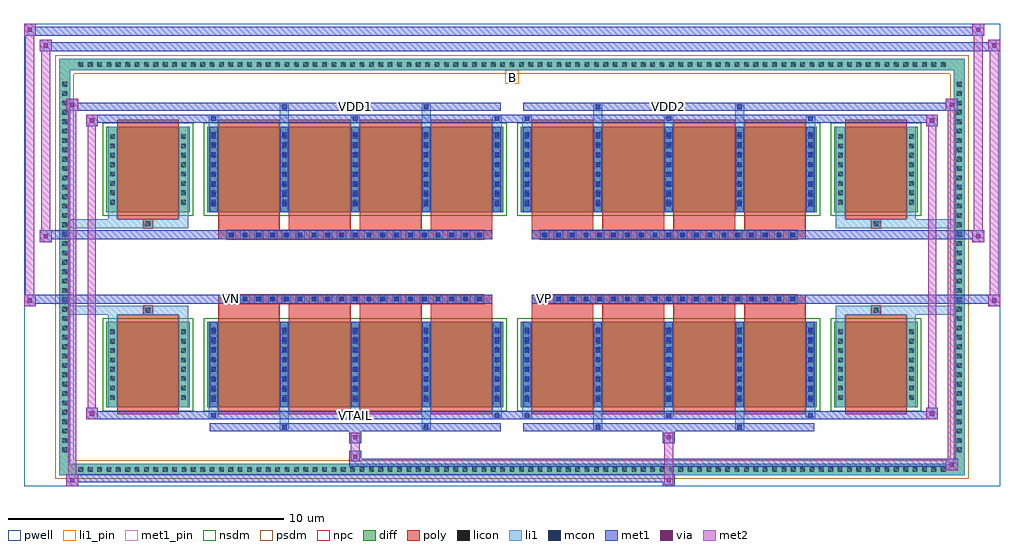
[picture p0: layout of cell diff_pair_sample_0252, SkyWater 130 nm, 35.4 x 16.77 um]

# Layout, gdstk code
import gdstk
lib = gdstk.Library(unit=1e-6, precision=5e-09)
def R(c, l, rs):  # rectangles x0, y0, x1, y1
    for r in rs: c.add(gdstk.rectangle(r[:2], r[2:], *l))
def A(c, l, x, y, w, h, nx, ny, dx, dy):  # array of equal rectangles
    R(c, l, [(x+i*dx, y+j*dy, x+i*dx+w, y+j*dy+h) for i in range(nx) for j in range(ny)])
def P(c, l, *ps):  # polygons
    for p in ps: c.add(gdstk.Polygon(p, *l))
pwell = (64, 44)
diff = (65, 20)
poly = (66, 20)
licon = (66, 44)
li1_pin = (67, 16)
li1 = (67, 20)
mcon = (67, 44)
met1_pin = (68, 16)
met1 = (68, 20)
via = (68, 44)
met2 = (69, 20)
nsdm = (93, 44)
psdm = (94, 20)
npc = (95, 20)

diff_pair_sample_0252 = lib.new_cell('diff_pair_sample_0252')
R(diff_pair_sample_0252, pwell, [(-17.7,-7.95,17.7,8.82), (-15.02,-6.14,-0.01,-0.8), (0.01,-6.14,15.02,-0.8), (-15.02,0.8,-0.01,6.14), (0.01,0.8,15.02,6.14)])
A(diff_pair_sample_0252, diff, -15.845, -7.55, 0.41, 0.41, 93, 2, 0.34, 14.69)
A(diff_pair_sample_0252, diff, -16.43, -6.835, 0.41, 0.41, 1, 40, 0, 0.34)
A(diff_pair_sample_0252, diff, 16.02, -6.835, 0.41, 0.41, 1, 40, 0, 0.34)
R(diff_pair_sample_0252, diff, [(-15.845,-7.55,15.845,-7.14), (-16.43,-6.835,-16.02,6.835), (16.02,-6.835,16.43,6.835), (-14.71,-5.095,-11.69,-1.985), (-11.05,-5.095,-0.32,-1.985), (0.32,-5.095,11.05,-1.985), (11.69,-5.095,14.71,-1.985), (-14.71,1.985,-11.69,5.095), (-11.05,1.985,-0.32,5.095), (0.32,1.985,11.05,5.095), (11.69,1.985,14.71,5.095), (-15.845,7.14,15.845,7.55)])
P(diff_pair_sample_0252, diff, [(16.43,7.55),(-16.43,7.55),(-16.43,-7.14),(-16.02,-7.14),(-16.02,7.14),(16.02,7.14),(16.02,-7.14),(-16.02,-7.14),(-16.43,-7.14),(-16.43,-7.55),(16.43,-7.55)])
A(diff_pair_sample_0252, poly, -10.66, -5.345, 2.24, 3.61, 4, 2, 2.57, 7.08)
A(diff_pair_sample_0252, poly, 0.71, -5.345, 2.24, 3.61, 4, 2, 2.57, 7.08)
A(diff_pair_sample_0252, poly, -10.66, -1.735, 2.24, 0.405, 4, 2, 2.57, 3.065)
A(diff_pair_sample_0252, poly, 0.71, -1.735, 2.24, 0.405, 4, 2, 2.57, 3.065)
A(diff_pair_sample_0252, poly, -10.35, -1.33, 0.33, 0.33, 19, 2, 0.5, 2.33)
A(diff_pair_sample_0252, poly, 1.02, -1.33, 0.33, 0.33, 19, 2, 0.5, 2.33)
R(diff_pair_sample_0252, poly, [(-14.32,-5.345,-12.08,-1.735), (12.08,-5.345,14.32,-1.735), (-13.365,-1.735,-13.035,-1.405), (-13.365,-1.735,-13.035,-1.405), (13.035,-1.735,13.365,-1.405), (13.035,-1.735,13.365,-1.405), (-10.66,-1.33,-0.71,-1), (0.71,-1.33,10.66,-1), (-10.66,1,-0.71,1.33), (0.71,1,10.66,1.33), (-13.365,1.405,-13.035,1.735), (-13.365,1.405,-13.035,1.735), (13.035,1.405,13.365,1.735), (13.035,1.405,13.365,1.735), (-14.32,1.735,-12.08,5.345), (12.08,1.735,14.32,5.345)])
A(diff_pair_sample_0252, licon, -15.725, -7.43, 0.17, 0.17, 93, 2, 0.34, 14.69)
A(diff_pair_sample_0252, licon, -16.31, -6.715, 0.17, 0.17, 1, 40, 0, 0.34)
A(diff_pair_sample_0252, licon, 16.14, -6.715, 0.17, 0.17, 1, 40, 0, 0.34)
A(diff_pair_sample_0252, licon, -14.57, -4.815, 0.17, 0.17, 1, 8, 0, 0.34)
A(diff_pair_sample_0252, licon, -12, -4.815, 0.17, 0.17, 1, 8, 0, 0.34)
A(diff_pair_sample_0252, licon, -10.91, -4.815, 0.17, 0.17, 5, 8, 2.57, 0.34)
A(diff_pair_sample_0252, licon, 0.46, -4.815, 0.17, 0.17, 5, 8, 2.57, 0.34)
A(diff_pair_sample_0252, licon, 11.83, -4.815, 0.17, 0.17, 1, 8, 0, 0.34)
A(diff_pair_sample_0252, licon, 14.4, -4.815, 0.17, 0.17, 1, 8, 0, 0.34)
A(diff_pair_sample_0252, licon, -10.27, -1.25, 0.17, 0.17, 19, 2, 0.5, 2.33)
A(diff_pair_sample_0252, licon, 1.1, -1.25, 0.17, 0.17, 19, 2, 0.5, 2.33)
A(diff_pair_sample_0252, licon, -14.57, 2.265, 0.17, 0.17, 1, 8, 0, 0.34)
A(diff_pair_sample_0252, licon, -12, 2.265, 0.17, 0.17, 1, 8, 0, 0.34)
A(diff_pair_sample_0252, licon, -10.91, 2.265, 0.17, 0.17, 5, 8, 2.57, 0.34)
A(diff_pair_sample_0252, licon, 0.46, 2.265, 0.17, 0.17, 5, 8, 2.57, 0.34)
A(diff_pair_sample_0252, licon, 11.83, 2.265, 0.17, 0.17, 1, 8, 0, 0.34)
A(diff_pair_sample_0252, licon, 14.4, 2.265, 0.17, 0.17, 1, 8, 0, 0.34)
R(diff_pair_sample_0252, licon, [(-13.285,-1.655,-13.115,-1.485), (13.115,-1.655,13.285,-1.485), (-13.285,1.485,-13.115,1.655), (13.115,1.485,13.285,1.655)])
R(diff_pair_sample_0252, li1_pin, [(-0.25,6.64,0.25,7.14)])
A(diff_pair_sample_0252, li1, -15.805, -7.51, 0.33, 0.33, 93, 2, 0.34, 14.69)
A(diff_pair_sample_0252, li1, -16.39, -6.795, 0.33, 0.33, 1, 40, 0, 0.34)
A(diff_pair_sample_0252, li1, 16.06, -6.795, 0.33, 0.33, 1, 40, 0, 0.34)
A(diff_pair_sample_0252, li1, -10.99, -5.47, 0.33, 0.375, 3, 2, 5.14, 10.565)
A(diff_pair_sample_0252, li1, -10.91, -5.47, 0.17, 0.17, 3, 2, 5.14, 10.77)
A(diff_pair_sample_0252, li1, 0.38, -5.47, 0.33, 0.375, 3, 2, 5.14, 10.565)
A(diff_pair_sample_0252, li1, 0.46, -5.47, 0.17, 0.17, 3, 2, 5.14, 10.77)
A(diff_pair_sample_0252, li1, -10.99, -5.095, 0.33, 3.11, 5, 2, 2.57, 7.08)
A(diff_pair_sample_0252, li1, 0.38, -5.095, 0.33, 3.11, 5, 2, 2.57, 7.08)
A(diff_pair_sample_0252, li1, -14.65, -4.895, 0.33, 0.33, 1, 8, 0, 0.34)
A(diff_pair_sample_0252, li1, -12.08, -4.895, 0.33, 0.33, 1, 8, 0, 0.34)
A(diff_pair_sample_0252, li1, -10.99, -4.895, 0.33, 0.33, 5, 8, 2.57, 0.34)
A(diff_pair_sample_0252, li1, 0.38, -4.895, 0.33, 0.33, 5, 8, 2.57, 0.34)
A(diff_pair_sample_0252, li1, 11.75, -4.895, 0.33, 0.33, 1, 8, 0, 0.34)
A(diff_pair_sample_0252, li1, 14.32, -4.895, 0.33, 0.33, 1, 8, 0, 0.34)
A(diff_pair_sample_0252, li1, -10.91, -4.885, 0.17, 0.17, 5, 8, 2.57, 0.36)
A(diff_pair_sample_0252, li1, -10.91, -4.885, 0.17, 2.69, 5, 2, 2.57, 7.08)
A(diff_pair_sample_0252, li1, 0.46, -4.885, 0.17, 0.17, 5, 8, 2.57, 0.36)
A(diff_pair_sample_0252, li1, 0.46, -4.885, 0.17, 2.69, 5, 2, 2.57, 7.08)
A(diff_pair_sample_0252, li1, -10.35, -1.33, 0.33, 0.33, 19, 2, 0.5, 2.33)
A(diff_pair_sample_0252, li1, 1.02, -1.33, 0.33, 0.33, 19, 2, 0.5, 2.33)
A(diff_pair_sample_0252, li1, -14.65, 2.185, 0.33, 0.33, 1, 8, 0, 0.34)
A(diff_pair_sample_0252, li1, -12.08, 2.185, 0.33, 0.33, 1, 8, 0, 0.34)
A(diff_pair_sample_0252, li1, -10.99, 2.185, 0.33, 0.33, 5, 8, 2.57, 0.34)
A(diff_pair_sample_0252, li1, 0.38, 2.185, 0.33, 0.33, 5, 8, 2.57, 0.34)
A(diff_pair_sample_0252, li1, 11.75, 2.185, 0.33, 0.33, 1, 8, 0, 0.34)
A(diff_pair_sample_0252, li1, 14.32, 2.185, 0.33, 0.33, 1, 8, 0, 0.34)
A(diff_pair_sample_0252, li1, -10.91, 2.195, 0.17, 0.17, 5, 8, 2.57, 0.36)
A(diff_pair_sample_0252, li1, 0.46, 2.195, 0.17, 0.17, 5, 8, 2.57, 0.36)
R(diff_pair_sample_0252, li1, [(-16.43,-7.55,-16.02,-7.14), (-16.43,-7.55,-16.02,-7.14), (-16.02,-7.55,16.02,-7.14), (16.02,-7.55,16.43,-7.14), (16.02,-7.55,16.43,-7.14), (-16.43,-7.14,-16.02,7.14), (16.02,-7.14,16.43,7.14), (-8.42,-5.9,-8.09,-5.095), (-8.34,-5.9,-8.17,-5.73), (-3.28,-5.9,-2.95,-5.095), (-3.2,-5.9,-3.03,-5.73), (2.95,-5.9,3.28,-5.095), (3.03,-5.9,3.2,-5.73), (8.09,-5.9,8.42,-5.095), (8.17,-5.9,8.34,-5.73), (-14.65,-5.095,-14.32,-1.985), (-12.08,-5.095,-11.75,-1.985), (11.75,-5.095,12.08,-1.985), (14.32,-5.095,14.65,-1.985), (-14.65,-1.985,-14.32,-1.405), (-12.08,-1.985,-11.75,-1.405), (11.75,-1.985,12.08,-1.405), (14.32,-1.985,14.65,-1.405), (-16.43,-1.735,-13.365,-1.405), (-14.65,-1.735,-13.365,-1.405), (-13.365,-1.735,-13.035,-1.405), (-13.035,-1.735,-11.75,-1.405), (11.75,-1.735,13.035,-1.405), (13.035,-1.735,13.365,-1.405), (13.035,-1.735,16.43,-1.405), (13.365,-1.735,14.65,-1.405), (-16.43,1.405,-13.365,1.735), (-14.65,1.405,-13.365,1.735), (-14.65,1.405,-14.32,1.985), (-13.365,1.405,-13.035,1.735), (-13.035,1.405,-11.75,1.735), (-12.08,1.405,-11.75,1.985), (11.75,1.405,13.035,1.735), (11.75,1.405,12.08,1.985), (13.035,1.405,13.365,1.735), (13.035,1.405,16.43,1.735), (13.365,1.405,14.65,1.735), (14.32,1.405,14.65,1.985), (-14.65,1.985,-14.32,5.095), (-12.08,1.985,-11.75,5.095), (11.75,1.985,12.08,5.095), (14.32,1.985,14.65,5.095), (-8.42,5.095,-8.09,5.9), (-3.28,5.095,-2.95,5.9), (2.95,5.095,3.28,5.9), (8.09,5.095,8.42,5.9), (-8.34,5.73,-8.17,5.9), (-3.2,5.73,-3.03,5.9), (3.03,5.73,3.2,5.9), (8.17,5.73,8.34,5.9), (-16.43,7.14,-16.02,7.55), (-16.43,7.14,-16.02,7.55), (-16.02,7.14,16.02,7.55), (16.02,7.14,16.43,7.55), (16.02,7.14,16.43,7.55)])
A(diff_pair_sample_0252, mcon, -10.91, -5.47, 0.17, 0.17, 3, 2, 5.14, 10.77)
A(diff_pair_sample_0252, mcon, 0.46, -5.47, 0.17, 0.17, 3, 2, 5.14, 10.77)
A(diff_pair_sample_0252, mcon, -10.91, -4.885, 0.17, 0.17, 5, 8, 2.57, 0.36)
A(diff_pair_sample_0252, mcon, 0.46, -4.885, 0.17, 0.17, 5, 8, 2.57, 0.36)
A(diff_pair_sample_0252, mcon, -10.27, -1.25, 0.17, 0.17, 19, 2, 0.5, 2.33)
A(diff_pair_sample_0252, mcon, 1.1, -1.25, 0.17, 0.17, 19, 2, 0.5, 2.33)
A(diff_pair_sample_0252, mcon, -10.91, 2.195, 0.17, 0.17, 5, 8, 2.57, 0.36)
A(diff_pair_sample_0252, mcon, 0.46, 2.195, 0.17, 0.17, 5, 8, 2.57, 0.36)
R(diff_pair_sample_0252, mcon, [(-8.34,-5.9,-8.17,-5.73), (-3.2,-5.9,-3.03,-5.73), (3.03,-5.9,3.2,-5.73), (8.17,-5.9,8.34,-5.73), (-8.34,5.73,-8.17,5.9), (-3.2,5.73,-3.03,5.9), (3.03,5.73,3.2,5.9), (8.17,5.73,8.34,5.9)])
R(diff_pair_sample_0252, met1_pin, [(-5.82,-5.51,-5.55,-5.24), (-10.32,-1.29,-10.05,-1.02), (1.05,-1.29,1.32,-1.02), (-5.82,5.69,-5.55,5.96), (5.55,5.69,5.82,5.96)])
A(diff_pair_sample_0252, met1, -10.97, -5.53, 0.29, 0.29, 3, 2, 5.14, 10.77)
A(diff_pair_sample_0252, met1, 0.4, -5.53, 0.29, 0.29, 3, 2, 5.14, 10.77)
A(diff_pair_sample_0252, met1, -10.97, -5.095, 0.29, 3.11, 5, 2, 2.57, 7.08)
A(diff_pair_sample_0252, met1, 0.4, -5.095, 0.29, 3.11, 5, 2, 2.57, 7.08)
A(diff_pair_sample_0252, met1, -10.97, -4.945, 0.29, 0.29, 5, 8, 2.57, 0.36)
A(diff_pair_sample_0252, met1, 0.4, -4.945, 0.29, 0.29, 5, 8, 2.57, 0.36)
A(diff_pair_sample_0252, met1, -10.33, -1.31, 0.29, 0.29, 19, 2, 0.5, 2.33)
A(diff_pair_sample_0252, met1, 1.04, -1.31, 0.29, 0.29, 19, 2, 0.5, 2.33)
A(diff_pair_sample_0252, met1, -10.97, 2.135, 0.29, 0.29, 5, 8, 2.57, 0.36)
A(diff_pair_sample_0252, met1, 0.4, 2.135, 0.29, 0.29, 5, 8, 2.57, 0.36)
R(diff_pair_sample_0252, met1, [(-16.16,-7.95,-15.73,-7.52), (5.47,-7.95,5.9,-7.52), (-16.16,-7.81,5.9,-7.52), (15.73,-7.38,16.16,-6.95), (-5.9,-7.24,16.16,-6.95), (-5.9,-7.1,-5.47,-6.67), (-5.9,-6.39,-5.47,-5.96), (5.47,-6.39,5.9,-5.96), (-10.97,-5.96,-0.4,-5.67), (-8.4,-5.96,-8.11,-5.67), (-3.26,-5.96,-2.97,-5.67), (0.4,-5.96,10.97,-5.67), (2.97,-5.96,3.26,-5.67), (8.11,-5.96,8.4,-5.67), (-15.45,-5.53,-15.02,-5.1), (-15.45,-5.53,-10.97,-5.24), (-10.97,-5.53,-0.4,-5.24), (-0.4,-5.53,0.4,-5.24), (0.4,-5.53,10.97,-5.24), (10.97,-5.53,15.45,-5.24), (15.02,-5.53,15.45,-5.1), (-17.7,-1.43,-17.27,-1), (17.27,-1.43,17.7,-1), (-17.7,-1.33,-0.71,-1), (-10.66,-1.33,-0.71,-1), (0.71,-1.33,10.66,-1), (0.71,-1.33,17.7,-1), (-17.13,0.9,-16.7,1.33), (16.7,0.9,17.13,1.33), (-17.13,1,-10.66,1.33), (-10.66,1,-0.71,1.33), (0.71,1,10.66,1.33), (10.66,1,17.13,1.33), (-15.45,5.1,-15.02,5.53), (15.02,5.1,15.45,5.53), (-15.45,5.24,-10.97,5.53), (-10.97,5.24,-0.4,5.53), (-0.4,5.24,0.4,5.53), (0.4,5.24,10.97,5.53), (10.97,5.24,15.45,5.53), (-16.16,5.67,-15.73,6.1), (-16.16,5.67,-10.97,5.96), (-10.97,5.67,-0.4,5.96), (-8.4,5.67,-8.11,5.96), (-3.26,5.67,-2.97,5.96), (0.4,5.67,10.97,5.96), (2.97,5.67,3.26,5.96), (8.11,5.67,8.4,5.96), (10.97,5.67,16.16,5.96), (15.73,5.67,16.16,6.1), (-17.13,7.82,-16.7,8.25), (-17.13,7.82,-15.02,8.15), (-15.02,7.82,15.02,8.15), (15.02,7.82,17.7,8.15), (17.27,7.82,17.7,8.25), (-17.7,8.39,-17.27,8.82), (-17.7,8.39,-15.02,8.72), (-15.02,8.39,15.02,8.72), (15.02,8.39,17.13,8.72), (16.7,8.39,17.13,8.82)])
R(diff_pair_sample_0252, via, [(-16.02,-7.81,-15.87,-7.66), (5.61,-7.81,5.76,-7.66), (15.87,-7.24,16.02,-7.09), (-5.76,-6.96,-5.61,-6.81), (-5.76,-6.25,-5.61,-6.1), (5.61,-6.25,5.76,-6.1), (-15.31,-5.39,-15.16,-5.24), (15.16,-5.39,15.31,-5.24), (-17.56,-1.29,-17.41,-1.14), (17.41,-1.29,17.56,-1.14), (-16.99,1.04,-16.84,1.19), (16.84,1.04,16.99,1.19), (-15.31,5.24,-15.16,5.39), (15.16,5.24,15.31,5.39), (-16.02,5.81,-15.87,5.96), (15.87,5.81,16.02,5.96), (-16.99,7.96,-16.84,8.11), (17.41,7.96,17.56,8.11), (-17.56,8.53,-17.41,8.68), (16.84,8.53,16.99,8.68)])
R(diff_pair_sample_0252, met2, [(-16.16,-7.95,-15.73,-7.52), (-16.09,-7.95,-15.8,6.1), (-15.8,-7.95,-15.73,-7.52), (-16.11,-7.9,-15.78,-7.57), (5.52,-7.9,5.85,-7.57), (5.52,-7.57,5.85,-6.34), (15.73,-7.38,16.16,-6.95), (15.8,-7.38,16.09,6.1), (16.09,-7.38,16.16,-6.95), (15.78,-7.33,16.11,-7), (-5.85,-7.05,-5.52,-6.72), (-5.85,-6.72,-5.52,-6.34), (-5.85,-6.34,-5.52,-6.01), (5.52,-6.34,5.85,-6.01), (-15.45,-5.53,-15.02,-5.1), (-15.38,-5.53,-15.09,5.53), (-15.09,-5.53,-15.02,-5.1), (15.02,-5.53,15.45,-5.1), (15.09,-5.53,15.38,5.53), (15.38,-5.53,15.45,-5.1), (-15.4,-5.48,-15.07,-5.15), (15.07,-5.48,15.4,-5.15), (-17.7,-1.43,-17.27,-1), (-17.65,-1.43,-17.32,8.82), (-17.32,-1.43,-17.27,-1), (17.27,-1.43,17.7,-1), (17.32,-1.43,17.65,8.25), (17.65,-1.43,17.7,-1), (-17.65,-1.38,-17.32,-1.05), (17.32,-1.38,17.65,-1.05), (-17.13,0.9,-16.7,1.33), (-17.08,0.9,-16.75,8.25), (-16.75,0.9,-16.7,1.33), (16.7,0.9,17.13,1.33), (16.75,0.9,17.08,8.82), (17.08,0.9,17.13,1.33), (-17.08,0.95,-16.75,1.28), (16.75,0.95,17.08,1.28), (-15.45,5.1,-15.02,5.53), (-15.09,5.1,-15.02,5.53), (15.02,5.1,15.45,5.53), (15.38,5.1,15.45,5.53), (-15.4,5.15,-15.07,5.48), (15.07,5.15,15.4,5.48), (-16.16,5.67,-15.73,6.1), (-15.8,5.67,-15.73,6.1), (15.73,5.67,16.16,6.1), (16.09,5.67,16.16,6.1), (-16.11,5.72,-15.78,6.05), (15.78,5.72,16.11,6.05), (-17.13,7.82,-16.7,8.25), (-16.75,7.82,-16.7,8.25), (17.27,7.82,17.7,8.25), (17.65,7.82,17.7,8.25), (-17.08,7.87,-16.75,8.2), (17.32,7.87,17.65,8.2), (-17.7,8.39,-17.27,8.82), (-17.32,8.39,-17.27,8.82), (16.7,8.39,17.13,8.82), (17.08,8.39,17.13,8.82), (-17.65,8.44,-17.32,8.77), (16.75,8.44,17.08,8.77)])
R(diff_pair_sample_0252, nsdm, [(-14.84,-5.225,-11.56,-1.855), (-11.18,-5.225,-0.19,-1.855), (0.19,-5.225,11.18,-1.855), (11.56,-5.225,14.84,-1.855), (-14.84,1.855,-11.56,5.225), (-11.18,1.855,-0.19,5.225), (0.19,1.855,11.18,5.225), (11.56,1.855,14.84,5.225)])
P(diff_pair_sample_0252, psdm, [(16.56,7.68),(-16.56,7.68),(-16.56,-7.01),(-15.89,-7.01),(-15.89,7.01),(15.89,7.01),(15.89,-7.01),(-15.89,-7.01),(-16.56,-7.01),(-16.56,-7.68),(16.56,-7.68)])
A(diff_pair_sample_0252, npc, -10.37, -1.35, 0.37, 0.37, 19, 2, 0.5, 2.33)
A(diff_pair_sample_0252, npc, 1, -1.35, 0.37, 0.37, 19, 2, 0.5, 2.33)
R(diff_pair_sample_0252, npc, [(-13.385,-1.755,-13.015,-1.385), (13.015,-1.755,13.385,-1.385), (-10.37,-1.35,-9.5,-0.98), (-10.37,-1.35,-9.5,-0.98), (-9.87,-1.35,-9,-0.98), (-9.87,-1.35,-9,-0.98), (-9.37,-1.35,-8.5,-0.98), (-9.37,-1.35,-8.5,-0.98), (-8.87,-1.35,-8,-0.98), (-8.87,-1.35,-8,-0.98), (-8.37,-1.35,-7.5,-0.98), (-8.37,-1.35,-7.5,-0.98), (-7.87,-1.35,-7,-0.98), (-7.87,-1.35,-7,-0.98), (-7.37,-1.35,-6.5,-0.98), (-7.37,-1.35,-6.5,-0.98), (-6.87,-1.35,-6,-0.98), (-6.87,-1.35,-6,-0.98), (-6.37,-1.35,-5.5,-0.98), (-6.37,-1.35,-5.5,-0.98), (-5.87,-1.35,-5,-0.98), (-5.87,-1.35,-5,-0.98), (-5.37,-1.35,-4.5,-0.98), (-5.37,-1.35,-4.5,-0.98), (-4.87,-1.35,-4,-0.98), (-4.87,-1.35,-4,-0.98), (-4.37,-1.35,-3.5,-0.98), (-4.37,-1.35,-3.5,-0.98), (-3.87,-1.35,-3,-0.98), (-3.87,-1.35,-3,-0.98), (-3.37,-1.35,-2.5,-0.98), (-3.37,-1.35,-2.5,-0.98), (-2.87,-1.35,-2,-0.98), (-2.87,-1.35,-2,-0.98), (-2.37,-1.35,-1.5,-0.98), (-2.37,-1.35,-1.5,-0.98), (-1.87,-1.35,-1,-0.98), (-1.87,-1.35,-1,-0.98), (1,-1.35,1.87,-0.98), (1,-1.35,1.87,-0.98), (1.5,-1.35,2.37,-0.98), (1.5,-1.35,2.37,-0.98), (2,-1.35,2.87,-0.98), (2,-1.35,2.87,-0.98), (2.5,-1.35,3.37,-0.98), (2.5,-1.35,3.37,-0.98), (3,-1.35,3.87,-0.98), (3,-1.35,3.87,-0.98), (3.5,-1.35,4.37,-0.98), (3.5,-1.35,4.37,-0.98), (4,-1.35,4.87,-0.98), (4,-1.35,4.87,-0.98), (4.5,-1.35,5.37,-0.98), (4.5,-1.35,5.37,-0.98), (5,-1.35,5.87,-0.98), (5,-1.35,5.87,-0.98), (5.5,-1.35,6.37,-0.98), (5.5,-1.35,6.37,-0.98), (6,-1.35,6.87,-0.98), (6,-1.35,6.87,-0.98), (6.5,-1.35,7.37,-0.98), (6.5,-1.35,7.37,-0.98), (7,-1.35,7.87,-0.98), (7,-1.35,7.87,-0.98), (7.5,-1.35,8.37,-0.98), (7.5,-1.35,8.37,-0.98), (8,-1.35,8.87,-0.98), (8,-1.35,8.87,-0.98), (8.5,-1.35,9.37,-0.98), (8.5,-1.35,9.37,-0.98), (9,-1.35,9.87,-0.98), (9,-1.35,9.87,-0.98), (9.5,-1.35,10.37,-0.98), (9.5,-1.35,10.37,-0.98), (-10.37,0.98,-9.5,1.35), (-10.37,0.98,-9.5,1.35), (-9.87,0.98,-9,1.35), (-9.87,0.98,-9,1.35), (-9.37,0.98,-8.5,1.35), (-9.37,0.98,-8.5,1.35), (-8.87,0.98,-8,1.35), (-8.87,0.98,-8,1.35), (-8.37,0.98,-7.5,1.35), (-8.37,0.98,-7.5,1.35), (-7.87,0.98,-7,1.35), (-7.87,0.98,-7,1.35), (-7.37,0.98,-6.5,1.35), (-7.37,0.98,-6.5,1.35), (-6.87,0.98,-6,1.35), (-6.87,0.98,-6,1.35), (-6.37,0.98,-5.5,1.35), (-6.37,0.98,-5.5,1.35), (-5.87,0.98,-5,1.35), (-5.87,0.98,-5,1.35), (-5.37,0.98,-4.5,1.35), (-5.37,0.98,-4.5,1.35), (-4.87,0.98,-4,1.35), (-4.87,0.98,-4,1.35), (-4.37,0.98,-3.5,1.35), (-4.37,0.98,-3.5,1.35), (-3.87,0.98,-3,1.35), (-3.87,0.98,-3,1.35), (-3.37,0.98,-2.5,1.35), (-3.37,0.98,-2.5,1.35), (-2.87,0.98,-2,1.35), (-2.87,0.98,-2,1.35), (-2.37,0.98,-1.5,1.35), (-2.37,0.98,-1.5,1.35), (-1.87,0.98,-1,1.35), (-1.87,0.98,-1,1.35), (1,0.98,1.87,1.35), (1,0.98,1.87,1.35), (1.5,0.98,2.37,1.35), (1.5,0.98,2.37,1.35), (2,0.98,2.87,1.35), (2,0.98,2.87,1.35), (2.5,0.98,3.37,1.35), (2.5,0.98,3.37,1.35), (3,0.98,3.87,1.35), (3,0.98,3.87,1.35), (3.5,0.98,4.37,1.35), (3.5,0.98,4.37,1.35), (4,0.98,4.87,1.35), (4,0.98,4.87,1.35), (4.5,0.98,5.37,1.35), (4.5,0.98,5.37,1.35), (5,0.98,5.87,1.35), (5,0.98,5.87,1.35), (5.5,0.98,6.37,1.35), (5.5,0.98,6.37,1.35), (6,0.98,6.87,1.35), (6,0.98,6.87,1.35), (6.5,0.98,7.37,1.35), (6.5,0.98,7.37,1.35), (7,0.98,7.87,1.35), (7,0.98,7.87,1.35), (7.5,0.98,8.37,1.35), (7.5,0.98,8.37,1.35), (8,0.98,8.87,1.35), (8,0.98,8.87,1.35), (8.5,0.98,9.37,1.35), (8.5,0.98,9.37,1.35), (9,0.98,9.87,1.35), (9,0.98,9.87,1.35), (9.5,0.98,10.37,1.35), (9.5,0.98,10.37,1.35), (-13.385,1.385,-13.015,1.755), (13.015,1.385,13.385,1.755)])
diff_pair_sample_0252.add(gdstk.Label('VTAIL', (-5.685,-5.375), layer=68, texttype=5))
diff_pair_sample_0252.add(gdstk.Label('VN', (-10.185,-1.155), layer=68, texttype=5))
diff_pair_sample_0252.add(gdstk.Label('VP', (1.185,-1.155), layer=68, texttype=5))
diff_pair_sample_0252.add(gdstk.Label('B', (0,6.89), layer=67, texttype=5))
diff_pair_sample_0252.add(gdstk.Label('VDD2', (5.685,5.825), layer=68, texttype=5))
diff_pair_sample_0252.add(gdstk.Label('VDD1', (-5.685,5.825), layer=68, texttype=5))

lib.write_gds('diff_pair_sample_0252.gds')
